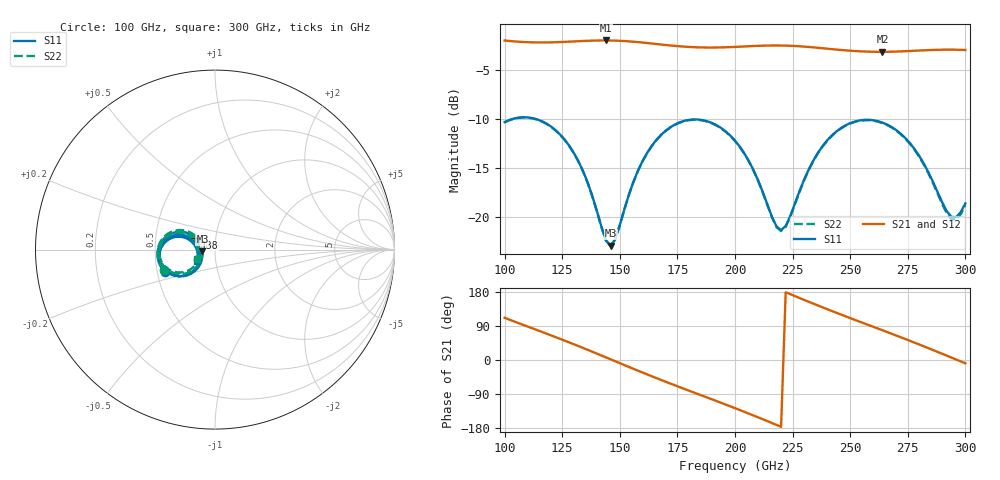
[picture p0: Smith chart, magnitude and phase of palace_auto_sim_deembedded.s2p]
! Created with skrf 1.11.0 (http://scikit-rf.org).
# GHz S DB R 50.0
!freq dBS11 angS11 dBS21 angS21 dBS12 angS12 dBS22 angS22
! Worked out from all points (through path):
!   101 points, 100 GHz to 300 GHz, reference 50 ohm
!   highest |S21| = -1.96 dB at 144 GHz (marker M1); lowest = -3.1 dB at 264 GHz (marker M2)
!   group delay of S21, straight-line fit = 6.68 ps
!   lowest |S11| = -23.0 dB at 146 GHz (marker M3), VSWR 1.15, Z = 43.4 - j0.901 ohm
!   |S11| at or under -10 dB: start of sweep to 103.5 GHz; 113.4 GHz to end of sweep
!   |S22| runs from -23.0 to -9.9 dB; largest |S21 - S12| = 1.4e-13
!   S11 on the Smith chart (normalised r, x): 100 GHz: 0.55, -0.15; 138 GHz: 0.80, +0.11; 300 GHz: 0.81, -0.10
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100  -10.33 -155.7  -1.97 111.3  -1.97 111.3  -10.35 -158.0
108  -9.83 -170.8  -2.12 92.9  -2.12 92.9  -9.85 -173.3
118  -10.46 171.0  -2.17 69.9  -2.17 69.9  -10.48 168.3
126  -12.10 157.7  -2.11 51.2  -2.11 51.2  -12.13 154.7
134  -15.32 148.4  -2.02 31.9  -2.02 31.9  -15.35 145.3
138  -17.84 148.8  -1.98 22.0  -1.98 22.0  -17.88 145.6
144  -22.42 171.4  -1.96 6.9  -1.96 6.9  -22.47 168.1
146  -22.98 -171.6  -1.97 1.8  -1.97 1.8  -23.02 -175.0
158  -15.23 -133.7  -2.14 -28.5  -2.14 -28.5  -15.26 -137.2
168  -11.61 -146.1  -2.38 -52.8  -2.38 -52.8  -11.64 -149.9
176  -10.35 -159.4  -2.56 -71.6  -2.56 -71.6  -10.38 -163.5
184  -10.06 -173.2  -2.67 -90.0  -2.67 -90.0  -10.09 -177.4
200  -12.22 161.4  -2.62 -127.1  -2.62 -127.1  -12.25 156.8
210  -16.27 154.2  -2.52 -151.3  -2.52 -151.3  -16.32 149.3
220  -21.38 -170.5  -2.48 -176.3  -2.48 -176.3  -21.47 -175.6
234  -14.26 -136.9  -2.67 148.7  -2.67 148.7  -14.30 -142.1
248  -10.65 -154.9  -2.98 115.2  -2.98 115.2  -10.69 -160.6
264  -10.37 179.6  -3.13 78.4  -3.13 78.4  -10.42 173.5
268  -10.83 173.6  -3.11 69.2  -3.11 69.2  -10.88 167.3
282  -14.60 158.6  -2.97 36.0  -2.97 36.0  -14.68 151.8
294  -20.03 -175.9  -2.91 6.3  -2.91 6.3  -20.28 177.3
300  -18.64 -148.1  -2.94 -8.8  -2.94 -8.8  -18.83 -154.2
